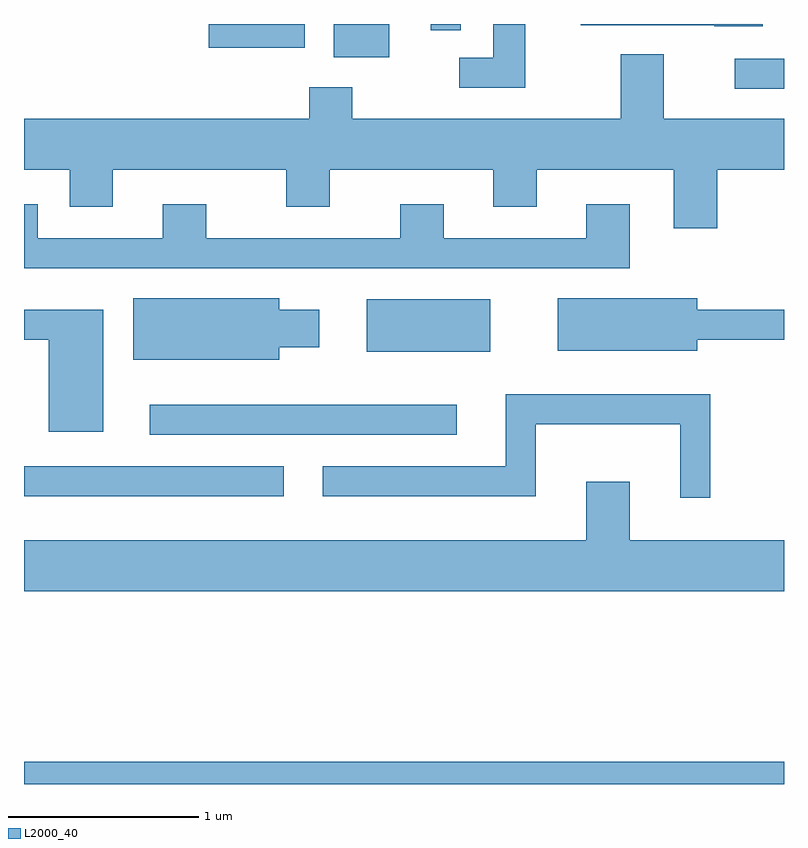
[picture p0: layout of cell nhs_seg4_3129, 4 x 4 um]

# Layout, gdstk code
import gdstk
lib = gdstk.Library(unit=1e-6, precision=1e-09)
def R(c, l, rs):  # rectangles x0, y0, x1, y1
    for r in rs: c.add(gdstk.rectangle(r[:2], r[2:], *l))
def P(c, l, *ps):  # polygons
    for p in ps: c.add(gdstk.Polygon(p, *l))
L2000_40 = (2000, 40)

nhs_seg4_3129 = lib.new_cell('nhs_seg4_3129')
R(nhs_seg4_3129, L2000_40, [(277.611,1255.982,281.611,1256.099), (277.611,1257.496,278.978,1257.654), (278.273,1257.821,279.888,1257.979), (279.416,1258.256,280.064,1258.534), (281.353,1259.641,281.611,1259.799), (279.241,1259.806,279.534,1259.982), (278.583,1259.856,279.089,1259.982), (279.751,1259.948,279.909,1259.982)])
P(nhs_seg4_3129, L2000_40, [(280.249,1259.982),(280.081,1259.982),(280.081,1259.804),(279.903,1259.804),(279.903,1259.646),(280.249,1259.646)],
  [(281.499,1259.982),(280.541,1259.982),(280.541,1259.976),(281.245,1259.976),(281.245,1259.971),(281.499,1259.971)],
  [(281.259,1259.216),(281.611,1259.216),(281.611,1259.484),(280.979,1259.484),(280.979,1259.824),(280.751,1259.824),(280.751,1259.484),(279.339,1259.484),(279.339,1259.649),(279.111,1259.649),(279.111,1259.484),(277.611,1259.484),(277.611,1259.216),(277.851,1259.216),(277.851,1259.021),(278.079,1259.021),(278.079,1259.216),(278.991,1259.216),(278.991,1259.021),(279.219,1259.021),(279.219,1259.216),(280.081,1259.216),(280.081,1259.021),(280.309,1259.021),(280.309,1259.216),(281.031,1259.216),(281.031,1258.906),(281.259,1258.906)],
  [(280.799,1259.034),(280.571,1259.034),(280.571,1258.854),(279.819,1258.854),(279.819,1259.034),(279.591,1259.034),(279.591,1258.854),(278.569,1258.854),(278.569,1259.034),(278.341,1259.034),(278.341,1258.854),(277.684,1258.854),(277.684,1259.034),(277.611,1259.034),(277.611,1258.696),(280.799,1258.696)],
  [(278.954,1258.281),(279.164,1258.281),(279.164,1258.479),(278.954,1258.479),(278.954,1258.539),(278.186,1258.539),(278.186,1258.216),(278.954,1258.216)],
  [(281.154,1258.321),(281.611,1258.321),(281.611,1258.479),(281.154,1258.479),(281.154,1258.539),(280.421,1258.539),(280.421,1258.261),(281.154,1258.261)],
  [(278.029,1258.479),(277.611,1258.479),(277.611,1258.321),(277.741,1258.321),(277.741,1257.836),(278.029,1257.836)],
  [(281.224,1258.034),(280.146,1258.034),(280.146,1257.654),(279.183,1257.654),(279.183,1257.496),(280.304,1257.496),(280.304,1257.876),(281.066,1257.876),(281.066,1257.488),(281.224,1257.488)],
  [(281.611,1257.264),(280.799,1257.264),(280.799,1257.574),(280.571,1257.574),(280.571,1257.264),(277.611,1257.264),(277.611,1256.996),(281.611,1256.996)])

lib.write_gds('nhs_seg4_3129.gds')
